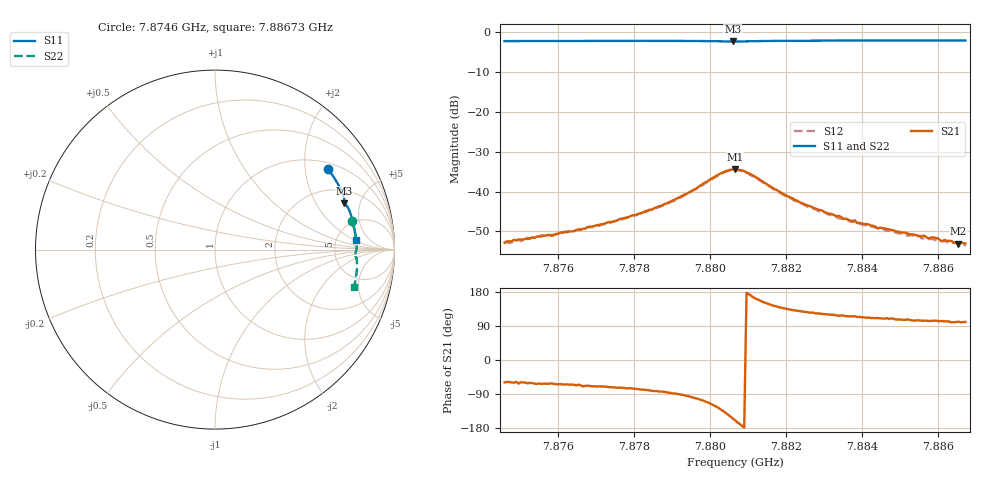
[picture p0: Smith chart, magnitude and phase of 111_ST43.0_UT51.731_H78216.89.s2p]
#  HZ  S  DB  R  50.00
! Rohde & Schwarz Vector Network Analyzer
! Rohde-Schwarz,ZNB20-2Port,1311601062101988,3.16
! Created: UTC 1/12/2023, 6:37:29 PM
! freq[Hz]  db:S11  ang:S11  db:S21  ang:S21  db:S12  ang:S12  db:S22  ang:S22
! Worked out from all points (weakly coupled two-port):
!   201 points, 7.8746 GHz to 7.88673 GHz, reference 50 ohm
!   highest |S21| = -34.41 dB at 7.88067 GHz (marker M1); lowest = -53.1 dB at 7.88655 GHz (marker M2)
!   lowest |S11| = -2.3 dB at 7.8806 GHz (marker M3), VSWR 7.45, Z = 144 + j177 ohm
!   |S11| at or under -10 dB: nowhere
!   |S22| runs from -2.2 to -1.9 dB; largest |S21 - S12| = 0.0012
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7.8746e9  -2.24 35.6  -52.84 -58.9  -52.64 -59.1  -2.14 11.6
7.875146e9  -2.23 34.2  -51.81 -59.4  -52.35 -60.5  -2.13 10.3
7.875207e9  -2.23 34.0  -51.91 -61.6  -51.55 -63.7  -2.13 10.2
7.875813e9  -2.22 32.3  -50.93 -61.7  -51.14 -67.2  -2.11 8.7
7.876662e9  -2.20 30.0  -49.33 -69.9  -49.31 -70.7  -2.09 6.8
7.877693e9  -2.20 27.2  -46.76 -73.4  -47.05 -77.3  -2.07 4.3
7.878664e9  -2.19 24.5  -43.69 -83.3  -43.89 -86.4  -2.05 2.0
7.879392e9  -2.21 22.4  -40.58 -94.8  -40.70 -98.3  -2.07 0.3
7.880302e9  -2.30 20.1  -35.39 -131.1  -35.55 -134.4  -2.16 -1.8
7.880605e9  -2.34 19.7  -34.47 -153.9  -34.67 -157.4  -2.21 -2.0
7.880665e9  -2.34 19.6  -34.41 -159.0  -34.58 -162.2  -2.20 -2.1
7.881029e9  -2.29 19.2  -35.42 173.5  -35.59 169.7  -2.16 -2.3
7.882e9  -2.17 16.7  -40.89 135.4  -41.16 132.1  -2.02 -4.3
7.882728e9  -2.14 14.7  -44.07 125.0  -44.32 120.4  -1.98 -6.1
7.883516e9  -2.12 12.5  -46.87 117.6  -46.81 113.5  -1.96 -7.9
7.883819e9  -2.12 11.7  -47.21 115.6  -47.83 111.1  -1.96 -8.5
7.88388e9  -2.12 11.5  -47.90 113.3  -47.84 110.4  -1.96 -8.7
7.884729e9  -2.11 9.3  -49.50 108.1  -49.83 106.2  -1.94 -10.6
7.885396e9  -2.10 7.5  -50.88 103.8  -51.49 101.6  -1.93 -12.0
7.885518e9  -2.10 7.2  -51.21 104.6  -51.13 100.2  -1.93 -12.3
7.886549e9  -2.08 4.5  -53.07 101.2  -53.14 97.2  -1.92 -14.6
7.886731e9  -2.08 4.1  -53.03 100.5  -53.71 97.2  -1.91 -14.9
